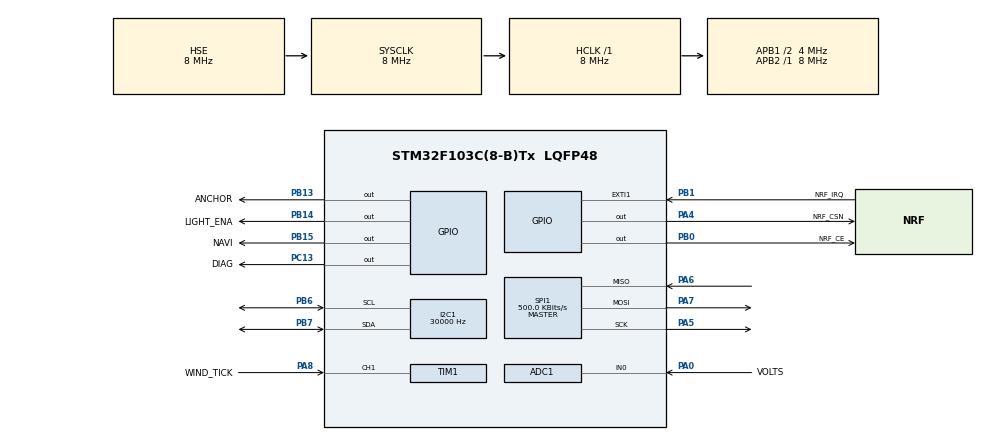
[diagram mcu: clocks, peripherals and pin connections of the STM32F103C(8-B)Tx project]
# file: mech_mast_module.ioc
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ADC1.ContinuousConvMode=DISABLE
ADC1.EnableRegularConversion=DISABLE
ADC1.InjNumberOfConversion=2
ADC1.master=1
I2C1.ClockSpeed=30000
Mcu.Family=STM32F1
Mcu.Name=STM32F103C(8-B)Tx
Mcu.Package=LQFP48
NVIC.EXTI1_IRQn=true\:0\:0\:false\:false\:true\:true\:true
NVIC.PriorityGroup=NVIC_PRIORITYGROUP_4
NVIC.TIM1_CC_IRQn=true\:0\:0\:false\:false\:true\:true\:false
NVIC.TIM2_IRQn=true\:0\:0\:false\:false\:true\:true\:false
PA0-WKUP.GPIO_Label=VOLTS
PA0-WKUP.Signal=ADCx_IN0
PA13.Mode=Serial_Wire
PA13.Signal=SYS_JTMS-SWDIO
PA14.Mode=Serial_Wire
PA14.Signal=SYS_JTCK-SWCLK
PA4.GPIO_Label=NRF_CSN
PA4.PinState=GPIO_PIN_SET
PA4.Signal=GPIO_Output
PA5.Mode=Full_Duplex_Master
PA5.Signal=SPI1_SCK
PA6.Mode=Full_Duplex_Master
PA6.Signal=SPI1_MISO
PA7.Mode=Full_Duplex_Master
PA7.Signal=SPI1_MOSI
PA8.GPIO_Label=WIND_TICK
PA8.GPIO_ModeDefaultEXTI=GPIO_MODE_IT_RISING_FALLING
PA8.GPIO_PuPd=GPIO_PULLUP
PA8.Signal=S_TIM1_CH1
PA8.Stacked=true
PB0.GPIO_Label=NRF_CE
PB0.GPIO_Speed=GPIO_SPEED_FREQ_HIGH
PB0.Signal=GPIO_Output
PB1.GPIO_Label=NRF_IRQ
PB1.Signal=GPXTI1
PB13.GPIO_Label=ANCHOR
PB13.Signal=GPIO_Output
PB14.GPIO_Label=LIGHT_ENA
PB14.GPIO_ModeDefaultOutputPP=GPIO_MODE_OUTPUT_OD
PB14.Signal=GPIO_Output
PB15.GPIO_Label=NAVI
PB15.Signal=GPIO_Output
PB6.Mode=I2C
PB6.Signal=I2C1_SCL
PB7.Mode=I2C
PB7.Signal=I2C1_SDA
PC13-TAMPER-RTC.GPIO_Label=DIAG
PC13-TAMPER-RTC.PinState=GPIO_PIN_SET
PC13-TAMPER-RTC.Signal=GPIO_Output
PD0-OSC_IN.Mode=HSE-External-Oscillator
PD0-OSC_IN.Signal=RCC_OSC_IN
PD1-OSC_OUT.Mode=HSE-External-Oscillator
PD1-OSC_OUT.Signal=RCC_OSC_OUT
ProjectManager.HeapSize=0x200
ProjectManager.StackSize=0x400
ProjectManager.TargetToolchain=SW4STM32
RCC.ADCPresc=RCC_ADCPCLK2_DIV8
RCC.AHBFreq_Value=8000000
RCC.APB1CLKDivider=RCC_HCLK_DIV2
RCC.APB1Freq_Value=4000000
RCC.APB1TimFreq_Value=8000000
RCC.APB2Freq_Value=8000000
RCC.APB2TimFreq_Value=8000000
RCC.HCLKFreq_Value=8000000
RCC.PLLMUL=RCC_PLL_MUL9
RCC.PLLSourceVirtual=RCC_PLLSOURCE_HSE
RCC.SYSCLKFreq_VALUE=8000000
RCC.SYSCLKSource=RCC_SYSCLKSOURCE_HSE
RCC.USBFreq_Value=72000000
SH.ADCx_IN0.0=ADC1_IN0,IN0
SH.S_TIM1_CH1.0=TIM1_CH1,PWM_Input_1
SPI1.BaudRatePrescaler=SPI_BAUDRATEPRESCALER_16
SPI1.CalculateBaudRate=500.0 KBits/s
SPI1.Direction=SPI_DIRECTION_2LINES
SPI1.Mode=SPI_MODE_MASTER
SPI1.VirtualType=VM_MASTER
TIM1.ICFilter_1=8
TIM1.Period=65535
TIM1.Prescaler=799
TIM1.TIM_MasterOutputTrigger=TIM_TRGO_OC1
TIM2.Period=99
TIM2.Prescaler=7999
VP_ADC1_Vref_Input.Mode=IN-Vrefint
VP_IWDG_VS_IWDG.Mode=IWDG_Activate
VP_TIM1_VS_ClockSourceINT.Mode=Internal
VP_TIM2_VS_ClockSourceINT.Mode=Internal
board=custom

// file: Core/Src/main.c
/* USER CODE BEGIN Header */
/**
  ******************************************************************************
  * @file           : main.c
  * @brief          : Main program body
  ******************************************************************************
  * @attention
  *
  * <h2><center>&copy; Copyright (c) 2019 STMicroelectronics.
  * All rights reserved.</center></h2>
  *
  * This software component is licensed by ST under BSD 3-Clause license,
  * the "License"; You may not use this file except in compliance with the
  * License. You may obtain a copy of the License at:
  *                        opensource.org/licenses/BSD-3-Clause
  *
  ******************************************************************************
  */
/* USER CODE END Header */
#include "main.h"

ADC_HandleTypeDef hadc1;

I2C_HandleTypeDef hi2c1;

IWDG_HandleTypeDef hiwdg;

SPI_HandleTypeDef hspi1;

TIM_HandleTypeDef htim1;
TIM_HandleTypeDef htim2;

void SystemClock_Config(void);
static void MX_GPIO_Init(void);
static void MX_I2C1_Init(void);
static void MX_SPI1_Init(void);
static void MX_ADC1_Init(void);
static void MX_TIM1_Init(void);
static void MX_IWDG_Init(void);
static void MX_TIM2_Init(void);

/* USER CODE BEGIN 0 */
volatile bool sensorPhase;
const char signature[] = SENSOR_SIGNATURE;

void resetI2C() {
    HAL_I2C_DeInit(&hi2c1);
    MX_I2C1_Init();
}

/* USER CODE END 0 */

int main(void)
{

  /* MCU Configuration--------------------------------------------------------*/

  /* Reset of all peripherals, Initializes the Flash interface and the Systick. */
  HAL_Init();

  /* Configure the system clock */
  SystemClock_Config();

  /* Initialize all configured peripherals */
  MX_GPIO_Init();
  MX_I2C1_Init();
  MX_SPI1_Init();
  MX_ADC1_Init();
  MX_TIM1_Init();
  MX_IWDG_Init();
  MX_TIM2_Init();
  /* USER CODE BEGIN 2 */
    __HAL_DBGMCU_FREEZE_IWDG();
    HAL_ADCEx_Calibration_Start(&hadc1);

    radioCheck();
    radioInit();
    HAL_TIM_Base_Start(&htim1);
    HAL_TIM_IC_Start_IT(&htim1, TIM_CHANNEL_1);
    HAL_TIM_IC_Start(&htim1, TIM_CHANNEL_2);
    HAL_NVIC_EnableIRQ(TIM1_UP_IRQn);
    HAL_ADCEx_InjectedStart(&hadc1);
    HAL_TIM_Base_Start_IT(&htim2);
  /* USER CODE END 2 */

  /* Infinite loop */
  /* USER CODE BEGIN WHILE */
#pragma clang diagnostic push
#pragma clang diagnostic ignored "-Wmissing-noreturn"
    while (1) {
        if(sensorPhase) {
            sensorLoop();
            sensorPhase = false;
        }
        radioLoop();
        HAL_IWDG_Refresh(&hiwdg);
    /* USER CODE END WHILE */

    /* USER CODE BEGIN 3 */
    }
#pragma clang diagnostic pop
  /* USER CODE END 3 */
}

void SystemClock_Config(void)
{
  RCC_OscInitTypeDef RCC_OscInitStruct = {0};
  RCC_ClkInitTypeDef RCC_ClkInitStruct = {0};
  RCC_PeriphCLKInitTypeDef PeriphClkInit = {0};

  /** Initializes the RCC Oscillators according to the specified parameters
  * in the RCC_OscInitTypeDef structure.
  */
  RCC_OscInitStruct.OscillatorType = RCC_OSCILLATORTYPE_LSI|RCC_OSCILLATORTYPE_HSE;
  RCC_OscInitStruct.HSEState = RCC_HSE_ON;
  RCC_OscInitStruct.LSIState = RCC_LSI_ON;
  RCC_OscInitStruct.PLL.PLLState = RCC_PLL_NONE;
  if (HAL_RCC_OscConfig(&RCC_OscInitStruct) != HAL_OK)
  {
    Error_Handler();
  }
  /** Initializes the CPU, AHB and APB buses clocks
  */
  RCC_ClkInitStruct.ClockType = RCC_CLOCKTYPE_HCLK|RCC_CLOCKTYPE_SYSCLK
                              |RCC_CLOCKTYPE_PCLK1|RCC_CLOCKTYPE_PCLK2;
  RCC_ClkInitStruct.SYSCLKSource = RCC_SYSCLKSOURCE_HSE;
  RCC_ClkInitStruct.AHBCLKDivider = RCC_SYSCLK_DIV1;
  RCC_ClkInitStruct.APB1CLKDivider = RCC_HCLK_DIV2;
  RCC_ClkInitStruct.APB2CLKDivider = RCC_HCLK_DIV1;

  if (HAL_RCC_ClockConfig(&RCC_ClkInitStruct, FLASH_LATENCY_0) != HAL_OK)
  {
    Error_Handler();
  }
  PeriphClkInit.PeriphClockSelection = RCC_PERIPHCLK_ADC;
  PeriphClkInit.AdcClockSelection = RCC_ADCPCLK2_DIV8;
  if (HAL_RCCEx_PeriphCLKConfig(&PeriphClkInit) != HAL_OK)
  {
    Error_Handler();
  }
}

static void MX_ADC1_Init(void)
{

  /** Common config
  */
  hadc1.Instance = ADC1;
  hadc1.Init.ScanConvMode = ADC_SCAN_ENABLE;
  hadc1.Init.ContinuousConvMode = DISABLE;
  hadc1.Init.DiscontinuousConvMode = DISABLE;
  hadc1.Init.ExternalTrigConv = ADC_SOFTWARE_START;
  hadc1.Init.DataAlign = ADC_DATAALIGN_RIGHT;
  hadc1.Init.NbrOfConversion = 1;
  if (HAL_ADC_Init(&hadc1) != HAL_OK)
  {
    Error_Handler();
  }

}

static void MX_I2C1_Init(void)
{

  hi2c1.Instance = I2C1;
  hi2c1.Init.ClockSpeed = 30000;
  hi2c1.Init.DutyCycle = I2C_DUTYCYCLE_2;
  hi2c1.Init.OwnAddress1 = 0;
  hi2c1.Init.AddressingMode = I2C_ADDRESSINGMODE_7BIT;
  hi2c1.Init.DualAddressMode = I2C_DUALADDRESS_DISABLE;
  hi2c1.Init.OwnAddress2 = 0;
  hi2c1.Init.GeneralCallMode = I2C_GENERALCALL_DISABLE;
  hi2c1.Init.NoStretchMode = I2C_NOSTRETCH_DISABLE;
  if (HAL_I2C_Init(&hi2c1) != HAL_OK)
  {
    Error_Handler();
  }

}

static void MX_IWDG_Init(void)
{

  hiwdg.Instance = IWDG;
  hiwdg.Init.Prescaler = IWDG_PRESCALER_4;
  hiwdg.Init.Reload = 4095;
  if (HAL_IWDG_Init(&hiwdg) != HAL_OK)
  {
    Error_Handler();
  }

}

static void MX_SPI1_Init(void)
{

  /* SPI1 parameter configuration*/
  hspi1.Instance = SPI1;
  hspi1.Init.Mode = SPI_MODE_MASTER;
  hspi1.Init.Direction = SPI_DIRECTION_2LINES;
  hspi1.Init.DataSize = SPI_DATASIZE_8BIT;
  hspi1.Init.CLKPolarity = SPI_POLARITY_LOW;
  hspi1.Init.CLKPhase = SPI_PHASE_1EDGE;
  hspi1.Init.NSS = SPI_NSS_SOFT;
  hspi1.Init.BaudRatePrescaler = SPI_BAUDRATEPRESCALER_16;
  hspi1.Init.FirstBit = SPI_FIRSTBIT_MSB;
  hspi1.Init.TIMode = SPI_TIMODE_DISABLE;
  hspi1.Init.CRCCalculation = SPI_CRCCALCULATION_DISABLE;
  hspi1.Init.CRCPolynomial = 10;
  if (HAL_SPI_Init(&hspi1) != HAL_OK)
  {
    Error_Handler();
  }

}

static void MX_TIM1_Init(void)
{

  TIM_ClockConfigTypeDef sClockSourceConfig = {0};
  TIM_SlaveConfigTypeDef sSlaveConfig = {0};
  TIM_IC_InitTypeDef sConfigIC = {0};
  TIM_MasterConfigTypeDef sMasterConfig = {0};

  htim1.Instance = TIM1;
  htim1.Init.Prescaler = 799;
  htim1.Init.CounterMode = TIM_COUNTERMODE_UP;
  htim1.Init.Period = 65535;
  htim1.Init.ClockDivision = TIM_CLOCKDIVISION_DIV1;
  htim1.Init.RepetitionCounter = 0;
  htim1.Init.AutoReloadPreload = TIM_AUTORELOAD_PRELOAD_DISABLE;
  if (HAL_TIM_Base_Init(&htim1) != HAL_OK)
  {
    Error_Handler();
  }
  sClockSourceConfig.ClockSource = TIM_CLOCKSOURCE_INTERNAL;
  if (HAL_TIM_ConfigClockSource(&htim1, &sClockSourceConfig) != HAL_OK)
  {
    Error_Handler();
  }
  if (HAL_TIM_IC_Init(&htim1) != HAL_OK)
  {
    Error_Handler();
  }
  sSlaveConfig.SlaveMode = TIM_SLAVEMODE_RESET;
  sSlaveConfig.InputTrigger = TIM_TS_TI1FP1;
  sSlaveConfig.TriggerPolarity = TIM_INPUTCHANNELPOLARITY_RISING;
  sSlaveConfig.TriggerPrescaler = TIM_ICPSC_DIV1;
  sSlaveConfig.TriggerFilter = 8;
  if (HAL_TIM_SlaveConfigSynchro(&htim1, &sSlaveConfig) != HAL_OK)
  {
    Error_Handler();
  }
  sConfigIC.ICPolarity = TIM_INPUTCHANNELPOLARITY_RISING;
  sConfigIC.ICSelection = TIM_ICSELECTION_DIRECTTI;
  sConfigIC.ICPrescaler = TIM_ICPSC_DIV1;
  sConfigIC.ICFilter = 8;
  if (HAL_TIM_IC_ConfigChannel(&htim1, &sConfigIC, TIM_CHANNEL_1) != HAL_OK)
  {
    Error_Handler();
  }
  sConfigIC.ICPolarity = TIM_INPUTCHANNELPOLARITY_FALLING;
  sConfigIC.ICSelection = TIM_ICSELECTION_INDIRECTTI;
  sConfigIC.ICFilter = 0;
  if (HAL_TIM_IC_ConfigChannel(&htim1, &sConfigIC, TIM_CHANNEL_2) != HAL_OK)
  {
    Error_Handler();
  }
  sMasterConfig.MasterOutputTrigger = TIM_TRGO_OC1;
  sMasterConfig.MasterSlaveMode = TIM_MASTERSLAVEMODE_DISABLE;
  if (HAL_TIMEx_MasterConfigSynchronization(&htim1, &sMasterConfig) != HAL_OK)
  {
    Error_Handler();
  }

}

static void MX_TIM2_Init(void)
{

  TIM_ClockConfigTypeDef sClockSourceConfig = {0};
  TIM_MasterConfigTypeDef sMasterConfig = {0};

  htim2.Instance = TIM2;
  htim2.Init.Prescaler = 7999;
  htim2.Init.CounterMode = TIM_COUNTERMODE_UP;
  htim2.Init.Period = 99;
  htim2.Init.ClockDivision = TIM_CLOCKDIVISION_DIV1;
  htim2.Init.AutoReloadPreload = TIM_AUTORELOAD_PRELOAD_DISABLE;
  if (HAL_TIM_Base_Init(&htim2) != HAL_OK)
  {
    Error_Handler();
  }
  sClockSourceConfig.ClockSource = TIM_CLOCKSOURCE_INTERNAL;
  if (HAL_TIM_ConfigClockSource(&htim2, &sClockSourceConfig) != HAL_OK)
  {
    Error_Handler();
  }
  sMasterConfig.MasterOutputTrigger = TIM_TRGO_RESET;
  sMasterConfig.MasterSlaveMode = TIM_MASTERSLAVEMODE_DISABLE;
  if (HAL_TIMEx_MasterConfigSynchronization(&htim2, &sMasterConfig) != HAL_OK)
  {
    Error_Handler();
  }

}

static void MX_GPIO_Init(void)
{
  GPIO_InitTypeDef GPIO_InitStruct = {0};

  /* GPIO Ports Clock Enable */
  __HAL_RCC_GPIOC_CLK_ENABLE();
  __HAL_RCC_GPIOD_CLK_ENABLE();
  __HAL_RCC_GPIOA_CLK_ENABLE();
  __HAL_RCC_GPIOB_CLK_ENABLE();

  /*Configure GPIO pin Output Level */
  HAL_GPIO_WritePin(DIAG_GPIO_Port, DIAG_Pin, GPIO_PIN_SET);

  /*Configure GPIO pin Output Level */
  HAL_GPIO_WritePin(NRF_CSN_GPIO_Port, NRF_CSN_Pin, GPIO_PIN_SET);

  /*Configure GPIO pin Output Level */
  HAL_GPIO_WritePin(GPIOB, NRF_CE_Pin|ANCHOR_Pin|LIGHT_ENA_Pin|NAVI_Pin, GPIO_PIN_RESET);

  /*Configure GPIO pin : DIAG_Pin */
  GPIO_InitStruct.Pin = DIAG_Pin;
  GPIO_InitStruct.Mode = GPIO_MODE_OUTPUT_PP;
  GPIO_InitStruct.Pull = GPIO_NOPULL;
  GPIO_InitStruct.Speed = GPIO_SPEED_FREQ_LOW;
  HAL_GPIO_Init(DIAG_GPIO_Port, &GPIO_InitStruct);

  /*Configure GPIO pins : PC14 PC15 */
  GPIO_InitStruct.Pin = GPIO_PIN_14|GPIO_PIN_15;
  GPIO_InitStruct.Mode = GPIO_MODE_ANALOG;
  HAL_GPIO_Init(GPIOC, &GPIO_InitStruct);

  /*Configure GPIO pins : PA1 PA2 PA3 PA9
                           PA10 PA11 PA12 PA15 */
  GPIO_InitStruct.Pin = GPIO_PIN_1|GPIO_PIN_2|GPIO_PIN_3|GPIO_PIN_9
                          |GPIO_PIN_10|GPIO_PIN_11|GPIO_PIN_12|GPIO_PIN_15;
  GPIO_InitStruct.Mode = GPIO_MODE_ANALOG;
  HAL_GPIO_Init(GPIOA, &GPIO_InitStruct);

  /*Configure GPIO pin : NRF_CSN_Pin */
  GPIO_InitStruct.Pin = NRF_CSN_Pin;
  GPIO_InitStruct.Mode = GPIO_MODE_OUTPUT_PP;
  GPIO_InitStruct.Pull = GPIO_NOPULL;
  GPIO_InitStruct.Speed = GPIO_SPEED_FREQ_LOW;
  HAL_GPIO_Init(NRF_CSN_GPIO_Port, &GPIO_InitStruct);

  /*Configure GPIO pin : NRF_CE_Pin */
  GPIO_InitStruct.Pin = NRF_CE_Pin;
  GPIO_InitStruct.Mode = GPIO_MODE_OUTPUT_PP;
  GPIO_InitStruct.Pull = GPIO_NOPULL;
  GPIO_InitStruct.Speed = GPIO_SPEED_FREQ_HIGH;
  HAL_GPIO_Init(NRF_CE_GPIO_Port, &GPIO_InitStruct);

  /*Configure GPIO pin : NRF_IRQ_Pin */
  GPIO_InitStruct.Pin = NRF_IRQ_Pin;
  GPIO_InitStruct.Mode = GPIO_MODE_IT_RISING;
  GPIO_InitStruct.Pull = GPIO_NOPULL;
  HAL_GPIO_Init(NRF_IRQ_GPIO_Port, &GPIO_InitStruct);

  /*Configure GPIO pins : PB2 PB10 PB11 PB12
                           PB3 PB4 PB5 PB8
                           PB9 */
  GPIO_InitStruct.Pin = GPIO_PIN_2|GPIO_PIN_10|GPIO_PIN_11|GPIO_PIN_12
                          |GPIO_PIN_3|GPIO_PIN_4|GPIO_PIN_5|GPIO_PIN_8
                          |GPIO_PIN_9;
  GPIO_InitStruct.Mode = GPIO_MODE_ANALOG;
  HAL_GPIO_Init(GPIOB, &GPIO_InitStruct);

  /*Configure GPIO pins : ANCHOR_Pin NAVI_Pin */
  GPIO_InitStruct.Pin = ANCHOR_Pin|NAVI_Pin;
  GPIO_InitStruct.Mode = GPIO_MODE_OUTPUT_PP;
  GPIO_InitStruct.Pull = GPIO_NOPULL;
  GPIO_InitStruct.Speed = GPIO_SPEED_FREQ_LOW;
  HAL_GPIO_Init(GPIOB, &GPIO_InitStruct);

  /*Configure GPIO pin : LIGHT_ENA_Pin */
  GPIO_InitStruct.Pin = LIGHT_ENA_Pin;
  GPIO_InitStruct.Mode = GPIO_MODE_OUTPUT_OD;
  GPIO_InitStruct.Pull = GPIO_NOPULL;
  GPIO_InitStruct.Speed = GPIO_SPEED_FREQ_LOW;
  HAL_GPIO_Init(LIGHT_ENA_GPIO_Port, &GPIO_InitStruct);

  /* EXTI interrupt init*/
  HAL_NVIC_SetPriority(EXTI1_IRQn, 0, 0);
  HAL_NVIC_EnableIRQ(EXTI1_IRQn);

}

/* USER CODE BEGIN 4 */
void Error_Indication(int ledTimeOn, int ledTimeOff) {
#pragma clang diagnostic push
#pragma clang diagnostic ignored "-Wmissing-noreturn"
    while (1) {
        HAL_GPIO_WritePin(DIAG_GPIO_Port, DIAG_Pin, GPIO_PIN_SET);
        HAL_Delay(ledTimeOff);
        HAL_GPIO_WritePin(DIAG_GPIO_Port, DIAG_Pin, GPIO_PIN_RESET);
        HAL_Delay(ledTimeOn);
    }
#pragma clang diagnostic pop
}
/* USER CODE END 4 */

void Error_Handler(void)
{
  /* USER CODE BEGIN Error_Handler_Debug */
    /* User can add his own implementation to report the HAL error return state */
    Error_Indication(200, 50);
  /* USER CODE END Error_Handler_Debug */
}

/************************ (C) COPYRIGHT STMicroelectronics *****END OF FILE****/
